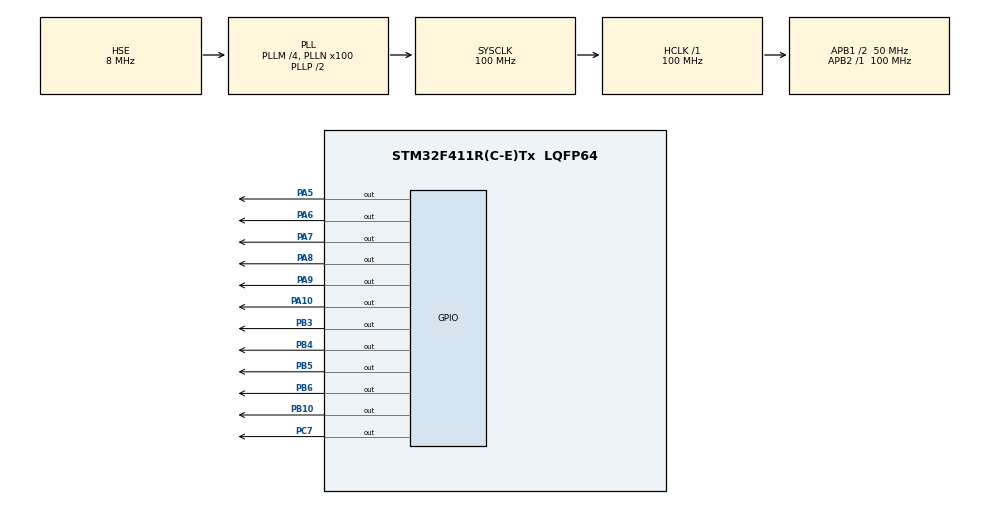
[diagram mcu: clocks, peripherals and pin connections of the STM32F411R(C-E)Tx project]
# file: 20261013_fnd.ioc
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Mcu.Family=STM32F4
Mcu.Name=STM32F411R(C-E)Tx
Mcu.Package=LQFP64
NVIC.PriorityGroup=NVIC_PRIORITYGROUP_4
PA10.Signal=GPIO_Output
PA5.Signal=GPIO_Output
PA6.Signal=GPIO_Output
PA7.Signal=GPIO_Output
PA8.Signal=GPIO_Output
PA9.Signal=GPIO_Output
PB10.Signal=GPIO_Output
PB3.Signal=GPIO_Output
PB4.Signal=GPIO_Output
PB5.Signal=GPIO_Output
PB6.Signal=GPIO_Output
PC7.Signal=GPIO_Output
PH0\ -\ OSC_IN.Mode=HSE-External-Oscillator
PH0\ -\ OSC_IN.Signal=RCC_OSC_IN
PH1\ -\ OSC_OUT.Mode=HSE-External-Oscillator
PH1\ -\ OSC_OUT.Signal=RCC_OSC_OUT
ProjectManager.HeapSize=0x200
ProjectManager.StackSize=0x400
ProjectManager.TargetToolchain=STM32CubeIDE
RCC.48MHZClocksFreq_Value=50000000
RCC.AHBFreq_Value=100000000
RCC.APB1CLKDivider=RCC_HCLK_DIV2
RCC.APB1Freq_Value=50000000
RCC.APB1TimFreq_Value=100000000
RCC.APB2Freq_Value=100000000
RCC.APB2TimFreq_Value=100000000
RCC.CortexFreq_Value=100000000
RCC.HCLKFreq_Value=100000000
RCC.HSE_VALUE=8000000
RCC.HSI_VALUE=16000000
RCC.LSE_VALUE=32768
RCC.PLLM=4
RCC.PLLN=100
RCC.PLLSourceVirtual=RCC_PLLSOURCE_HSE
RCC.SYSCLKFreq_VALUE=100000000
RCC.SYSCLKSource=RCC_SYSCLKSOURCE_PLLCLK
RCC.VCOOutputFreq_Value=200000000
board=custom

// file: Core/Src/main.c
/* USER CODE BEGIN Header */
/**
  ******************************************************************************
  * @file           : main.c
  * @brief          : Main program body
  ******************************************************************************
  * @attention
  *
  * Copyright (c) 2026 STMicroelectronics.
  * All rights reserved.
  *
  * This software is licensed under terms that can be found in the LICENSE file
  * in the root directory of this software component.
  * If no LICENSE file comes with this software, it is provided AS-IS.
  *
  ******************************************************************************
  */
/* USER CODE END Header */
#include "main.h"

void SystemClock_Config(void);
static void MX_GPIO_Init(void);

/* USER CODE BEGIN PFP */
void display_fnd(int number);
void digit_fnd(int digit);

/* USER CODE END PFP */

int main(void)
{

  /* USER CODE BEGIN 1 */
	int tick = 49500;
	int num = 0;
	int digit = 0;
	int fnd_val = 0;
  /* USER CODE END 1 */

  /* MCU Configuration--------------------------------------------------------*/

  /* Reset of all peripherals, Initializes the Flash interface and the Systick. */
  HAL_Init();

  /* Configure the system clock */
  SystemClock_Config();

  /* Initialize all configured peripherals */
  MX_GPIO_Init();

  /* Infinite loop */
  /* USER CODE BEGIN WHILE */
  while (1)
  {
	  if(num > 9999){
		  tick = 0;
	  }
	  num = tick / 5;
	  digit = tick % 4;
	  switch(digit){
	  case 0:
		  fnd_val = num/1000;
		  break;
	  case 1:
		  fnd_val = (num%1000)/100;
		  break;
	  case 2:
		  fnd_val = (num%100)/10;
		  break;
	  case 3:
		  fnd_val = num % 10;
		  break;
	  }
	  display_fnd(fnd_val);
	  digit_fnd(digit);

	  tick = (tick + 1);

	  HAL_Delay(20);

    /* USER CODE END WHILE */

  }
}

void SystemClock_Config(void)
{
  RCC_OscInitTypeDef RCC_OscInitStruct = {0};
  RCC_ClkInitTypeDef RCC_ClkInitStruct = {0};

  /** Configure the main internal regulator output voltage
  */
  __HAL_RCC_PWR_CLK_ENABLE();
  __HAL_PWR_VOLTAGESCALING_CONFIG(PWR_REGULATOR_VOLTAGE_SCALE1);

  /** Initializes the RCC Oscillators according to the specified parameters
  * in the RCC_OscInitTypeDef structure.
  */
  RCC_OscInitStruct.OscillatorType = RCC_OSCILLATORTYPE_HSE;
  RCC_OscInitStruct.HSEState = RCC_HSE_ON;
  RCC_OscInitStruct.PLL.PLLState = RCC_PLL_ON;
  RCC_OscInitStruct.PLL.PLLSource = RCC_PLLSOURCE_HSE;
  RCC_OscInitStruct.PLL.PLLM = 4;
  RCC_OscInitStruct.PLL.PLLN = 100;
  RCC_OscInitStruct.PLL.PLLP = RCC_PLLP_DIV2;
  RCC_OscInitStruct.PLL.PLLQ = 4;
  if (HAL_RCC_OscConfig(&RCC_OscInitStruct) != HAL_OK)
  {
    Error_Handler();
  }

  /** Initializes the CPU, AHB and APB buses clocks
  */
  RCC_ClkInitStruct.ClockType = RCC_CLOCKTYPE_HCLK|RCC_CLOCKTYPE_SYSCLK
                              |RCC_CLOCKTYPE_PCLK1|RCC_CLOCKTYPE_PCLK2;
  RCC_ClkInitStruct.SYSCLKSource = RCC_SYSCLKSOURCE_PLLCLK;
  RCC_ClkInitStruct.AHBCLKDivider = RCC_SYSCLK_DIV1;
  RCC_ClkInitStruct.APB1CLKDivider = RCC_HCLK_DIV2;
  RCC_ClkInitStruct.APB2CLKDivider = RCC_HCLK_DIV1;

  if (HAL_RCC_ClockConfig(&RCC_ClkInitStruct, FLASH_LATENCY_3) != HAL_OK)
  {
    Error_Handler();
  }
}

static void MX_GPIO_Init(void)
{
  GPIO_InitTypeDef GPIO_InitStruct = {0};

  /* GPIO Ports Clock Enable */
  __HAL_RCC_GPIOH_CLK_ENABLE();
  __HAL_RCC_GPIOA_CLK_ENABLE();
  __HAL_RCC_GPIOB_CLK_ENABLE();
  __HAL_RCC_GPIOC_CLK_ENABLE();

  /*Configure GPIO pin Output Level */
  HAL_GPIO_WritePin(GPIOA, GPIO_PIN_5|GPIO_PIN_6|GPIO_PIN_7|GPIO_PIN_8
                          |GPIO_PIN_9|GPIO_PIN_10, GPIO_PIN_RESET);

  /*Configure GPIO pin Output Level */
  HAL_GPIO_WritePin(GPIOB, GPIO_PIN_10|GPIO_PIN_3|GPIO_PIN_4|GPIO_PIN_5
                          |GPIO_PIN_6, GPIO_PIN_RESET);

  /*Configure GPIO pin Output Level */
  HAL_GPIO_WritePin(GPIOC, GPIO_PIN_7, GPIO_PIN_RESET);

  /*Configure GPIO pins : PA5 PA6 PA7 PA8
                           PA9 PA10 */
  GPIO_InitStruct.Pin = GPIO_PIN_5|GPIO_PIN_6|GPIO_PIN_7|GPIO_PIN_8
                          |GPIO_PIN_9|GPIO_PIN_10;
  GPIO_InitStruct.Mode = GPIO_MODE_OUTPUT_PP;
  GPIO_InitStruct.Pull = GPIO_NOPULL;
  GPIO_InitStruct.Speed = GPIO_SPEED_FREQ_LOW;
  HAL_GPIO_Init(GPIOA, &GPIO_InitStruct);

  /*Configure GPIO pins : PB10 PB3 PB4 PB5
                           PB6 */
  GPIO_InitStruct.Pin = GPIO_PIN_10|GPIO_PIN_3|GPIO_PIN_4|GPIO_PIN_5
                          |GPIO_PIN_6;
  GPIO_InitStruct.Mode = GPIO_MODE_OUTPUT_PP;
  GPIO_InitStruct.Pull = GPIO_NOPULL;
  GPIO_InitStruct.Speed = GPIO_SPEED_FREQ_LOW;
  HAL_GPIO_Init(GPIOB, &GPIO_InitStruct);

  /*Configure GPIO pin : PC7 */
  GPIO_InitStruct.Pin = GPIO_PIN_7;
  GPIO_InitStruct.Mode = GPIO_MODE_OUTPUT_PP;
  GPIO_InitStruct.Pull = GPIO_NOPULL;
  GPIO_InitStruct.Speed = GPIO_SPEED_FREQ_LOW;
  HAL_GPIO_Init(GPIOC, &GPIO_InitStruct);

}

/* USER CODE BEGIN 4 */
  void display_fnd(int number){
	  switch(number){
	  case 0:
		  	HAL_GPIO_WritePin(GPIOA, GPIO_PIN_6, GPIO_PIN_SET); // A
		    HAL_GPIO_WritePin(GPIOA, GPIO_PIN_9, GPIO_PIN_SET); // B
		    HAL_GPIO_WritePin(GPIOB, GPIO_PIN_5, GPIO_PIN_SET); // C
		    HAL_GPIO_WritePin(GPIOB, GPIO_PIN_10, GPIO_PIN_SET); // D
		    HAL_GPIO_WritePin(GPIOA, GPIO_PIN_8, GPIO_PIN_SET); // E
		    HAL_GPIO_WritePin(GPIOA, GPIO_PIN_7, GPIO_PIN_SET); // F
		    HAL_GPIO_WritePin(GPIOB, GPIO_PIN_3, GPIO_PIN_RESET); // G
		    break;
	  case 1:
		  HAL_GPIO_WritePin(GPIOA, GPIO_PIN_6, GPIO_PIN_RESET); // A
		  HAL_GPIO_WritePin(GPIOA, GPIO_PIN_9, GPIO_PIN_SET); // B
		  HAL_GPIO_WritePin(GPIOB, GPIO_PIN_5, GPIO_PIN_SET); // C
		  HAL_GPIO_WritePin(GPIOB, GPIO_PIN_10, GPIO_PIN_RESET); // D
		  HAL_GPIO_WritePin(GPIOA, GPIO_PIN_8, GPIO_PIN_RESET); // E
		  HAL_GPIO_WritePin(GPIOA, GPIO_PIN_7, GPIO_PIN_RESET); // F
		  HAL_GPIO_WritePin(GPIOB, GPIO_PIN_3, GPIO_PIN_RESET); // G
		  break;
	  case 2:
		  HAL_GPIO_WritePin(GPIOA, GPIO_PIN_6, GPIO_PIN_SET); // A
		  HAL_GPIO_WritePin(GPIOA, GPIO_PIN_9, GPIO_PIN_SET); // B
		  HAL_GPIO_WritePin(GPIOB, GPIO_PIN_5, GPIO_PIN_RESET); // C
		  HAL_GPIO_WritePin(GPIOB, GPIO_PIN_10, GPIO_PIN_SET); // D
		  HAL_GPIO_WritePin(GPIOA, GPIO_PIN_8, GPIO_PIN_SET); // E
		  HAL_GPIO_WritePin(GPIOA, GPIO_PIN_7, GPIO_PIN_RESET); // F
		  HAL_GPIO_WritePin(GPIOB, GPIO_PIN_3, GPIO_PIN_SET); // G
		  break;
	  case 3:
		  HAL_GPIO_WritePin(GPIOA, GPIO_PIN_6, GPIO_PIN_SET); // A
		  HAL_GPIO_WritePin(GPIOA, GPIO_PIN_9, GPIO_PIN_SET); // B
		  HAL_GPIO_WritePin(GPIOB, GPIO_PIN_5, GPIO_PIN_SET); // C
		  HAL_GPIO_WritePin(GPIOB, GPIO_PIN_10, GPIO_PIN_SET); // D
		  HAL_GPIO_WritePin(GPIOA, GPIO_PIN_8, GPIO_PIN_RESET); // E
		  HAL_GPIO_WritePin(GPIOA, GPIO_PIN_7, GPIO_PIN_RESET); // F
		  HAL_GPIO_WritePin(GPIOB, GPIO_PIN_3, GPIO_PIN_SET); // G
		  break;
	  case 4:
		  HAL_GPIO_WritePin(GPIOA, GPIO_PIN_6, GPIO_PIN_RESET); // A
		  HAL_GPIO_WritePin(GPIOA, GPIO_PIN_9, GPIO_PIN_SET); // B
		  HAL_GPIO_WritePin(GPIOB, GPIO_PIN_5, GPIO_PIN_SET); // C
		  HAL_GPIO_WritePin(GPIOB, GPIO_PIN_10, GPIO_PIN_RESET); // D
		  HAL_GPIO_WritePin(GPIOA, GPIO_PIN_8, GPIO_PIN_RESET); // E
		  HAL_GPIO_WritePin(GPIOA, GPIO_PIN_7, GPIO_PIN_SET); // F
		  HAL_GPIO_WritePin(GPIOB, GPIO_PIN_3, GPIO_PIN_SET); // G
		  break;
	  case 5:
		  HAL_GPIO_WritePin(GPIOA, GPIO_PIN_6, GPIO_PIN_SET); // A
		  HAL_GPIO_WritePin(GPIOA, GPIO_PIN_9, GPIO_PIN_RESET); // B
		  HAL_GPIO_WritePin(GPIOB, GPIO_PIN_5, GPIO_PIN_SET); // C
		  HAL_GPIO_WritePin(GPIOB, GPIO_PIN_10, GPIO_PIN_SET); // D
		  HAL_GPIO_WritePin(GPIOA, GPIO_PIN_8, GPIO_PIN_RESET); // E
		  HAL_GPIO_WritePin(GPIOA, GPIO_PIN_7, GPIO_PIN_SET); // F
		  HAL_GPIO_WritePin(GPIOB, GPIO_PIN_3, GPIO_PIN_SET); // G
		  break;
	  case 6:
		  HAL_GPIO_WritePin(GPIOA, GPIO_PIN_6, GPIO_PIN_SET); // A
		  HAL_GPIO_WritePin(GPIOA, GPIO_PIN_9, GPIO_PIN_RESET); // B
		  HAL_GPIO_WritePin(GPIOB, GPIO_PIN_5, GPIO_PIN_SET); // C
		  HAL_GPIO_WritePin(GPIOB, GPIO_PIN_10, GPIO_PIN_SET); // D
		  HAL_GPIO_WritePin(GPIOA, GPIO_PIN_8, GPIO_PIN_SET); // E
		  HAL_GPIO_WritePin(GPIOA, GPIO_PIN_7, GPIO_PIN_SET); // F
		  HAL_GPIO_WritePin(GPIOB, GPIO_PIN_3, GPIO_PIN_SET); // G
		  break;
	  case 7:
		  HAL_GPIO_WritePin(GPIOA, GPIO_PIN_6, GPIO_PIN_SET); // A
		  HAL_GPIO_WritePin(GPIOA, GPIO_PIN_9, GPIO_PIN_SET); // B
		  HAL_GPIO_WritePin(GPIOB, GPIO_PIN_5, GPIO_PIN_SET); // C
		  HAL_GPIO_WritePin(GPIOB, GPIO_PIN_10, GPIO_PIN_RESET); // D
		  HAL_GPIO_WritePin(GPIOA, GPIO_PIN_8, GPIO_PIN_RESET); // E
		  HAL_GPIO_WritePin(GPIOA, GPIO_PIN_7, GPIO_PIN_SET); // F
		  HAL_GPIO_WritePin(GPIOB, GPIO_PIN_3, GPIO_PIN_RESET); // G
		  break;
	  case 8:
		  HAL_GPIO_WritePin(GPIOA, GPIO_PIN_6, GPIO_PIN_SET); // A
		  HAL_GPIO_WritePin(GPIOA, GPIO_PIN_9, GPIO_PIN_SET); // B
		  HAL_GPIO_WritePin(GPIOB, GPIO_PIN_5, GPIO_PIN_SET); // C
		  HAL_GPIO_WritePin(GPIOB, GPIO_PIN_10, GPIO_PIN_SET); // D
		  HAL_GPIO_WritePin(GPIOA, GPIO_PIN_8, GPIO_PIN_SET); // E
		  HAL_GPIO_WritePin(GPIOA, GPIO_PIN_7, GPIO_PIN_SET); // F
		  HAL_GPIO_WritePin(GPIOB, GPIO_PIN_3, GPIO_PIN_SET); // G
		  break;
	  case 9:
		  HAL_GPIO_WritePin(GPIOA, GPIO_PIN_6, GPIO_PIN_SET); // A
		  HAL_GPIO_WritePin(GPIOA, GPIO_PIN_9, GPIO_PIN_SET); // B
		  HAL_GPIO_WritePin(GPIOB, GPIO_PIN_5, GPIO_PIN_SET); // C
		  HAL_GPIO_WritePin(GPIOB, GPIO_PIN_10, GPIO_PIN_SET); // D
		  HAL_GPIO_WritePin(GPIOA, GPIO_PIN_8, GPIO_PIN_RESET); // E
		  HAL_GPIO_WritePin(GPIOA, GPIO_PIN_7, GPIO_PIN_SET); // F
		  HAL_GPIO_WritePin(GPIOB, GPIO_PIN_3, GPIO_PIN_SET); // G
		  break;
	  default:
		  HAL_GPIO_WritePin(GPIOA, GPIO_PIN_6, GPIO_PIN_RESET); // A
		  HAL_GPIO_WritePin(GPIOA, GPIO_PIN_9, GPIO_PIN_RESET); // B
		  HAL_GPIO_WritePin(GPIOB, GPIO_PIN_5, GPIO_PIN_RESET); // C
		  HAL_GPIO_WritePin(GPIOB, GPIO_PIN_10, GPIO_PIN_RESET); // D
		  HAL_GPIO_WritePin(GPIOA, GPIO_PIN_8, GPIO_PIN_RESET); // E
		  HAL_GPIO_WritePin(GPIOA, GPIO_PIN_7, GPIO_PIN_RESET); // F
		  HAL_GPIO_WritePin(GPIOB, GPIO_PIN_3, GPIO_PIN_RESET); // G
		  break;
	  }
  }
	  void digit_fnd(int digit){
	  switch(digit){
	  case 0:
	  HAL_GPIO_WritePin(GPIOA, GPIO_PIN_5, GPIO_PIN_RESET); // D1
	  HAL_GPIO_WritePin(GPIOB, GPIO_PIN_6, GPIO_PIN_SET); // D2
	  HAL_GPIO_WritePin(GPIOC, GPIO_PIN_7, GPIO_PIN_SET); // D3
	  HAL_GPIO_WritePin(GPIOA, GPIO_PIN_10, GPIO_PIN_SET); // D4
	  break;
	  case 1:
	  HAL_GPIO_WritePin(GPIOA, GPIO_PIN_5, GPIO_PIN_SET); // D1
	  HAL_GPIO_WritePin(GPIOB, GPIO_PIN_6, GPIO_PIN_RESET); // D2
	  HAL_GPIO_WritePin(GPIOC, GPIO_PIN_7, GPIO_PIN_SET); // D3
	  HAL_GPIO_WritePin(GPIOA, GPIO_PIN_10, GPIO_PIN_SET); // D4
	  break;
	  case 2:
	  HAL_GPIO_WritePin(GPIOA, GPIO_PIN_5, GPIO_PIN_SET); // D1
	  HAL_GPIO_WritePin(GPIOB, GPIO_PIN_6, GPIO_PIN_SET); // D2
	  HAL_GPIO_WritePin(GPIOC, GPIO_PIN_7, GPIO_PIN_RESET); // D3
	  HAL_GPIO_WritePin(GPIOA, GPIO_PIN_10, GPIO_PIN_SET); // D4
	  break;
	  case 3:
	  HAL_GPIO_WritePin(GPIOA, GPIO_PIN_5, GPIO_PIN_SET); // D1
	  HAL_GPIO_WritePin(GPIOB, GPIO_PIN_6, GPIO_PIN_SET); // D2
	  HAL_GPIO_WritePin(GPIOC, GPIO_PIN_7, GPIO_PIN_SET); // D3
	  HAL_GPIO_WritePin(GPIOA, GPIO_PIN_10, GPIO_PIN_RESET); // D4
	  break;
	  default:
	  HAL_GPIO_WritePin(GPIOA, GPIO_PIN_5, GPIO_PIN_SET); // D1
	  HAL_GPIO_WritePin(GPIOB, GPIO_PIN_6, GPIO_PIN_SET); // D2
	  HAL_GPIO_WritePin(GPIOC, GPIO_PIN_7, GPIO_PIN_SET); // D3
	  HAL_GPIO_WritePin(GPIOA, GPIO_PIN_10, GPIO_PIN_SET); // D4
	  break;
	  }
  }
/* USER CODE END 4 */

void Error_Handler(void)
{
  __disable_irq();
  while (1)
  {
  }
}
